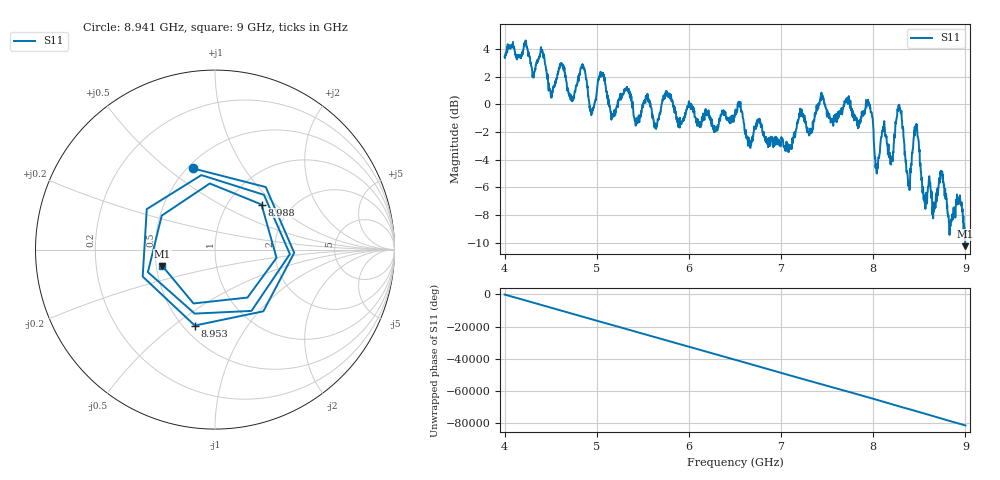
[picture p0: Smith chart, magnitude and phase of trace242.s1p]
! Created with skrf 1.8.0 (http://scikit-rf.org).
# Hz S RI R 50.0
!freq ReS11 ImS11
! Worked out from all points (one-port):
!   1601 points, 4 GHz to 9 GHz, reference 50 ohm
!   lowest |S11| = -10.3 dB at 9 GHz (marker M1), VSWR 1.89, Z = 27 - j5.47 ohm
!   |S11| at or under -10 dB: 8.998252 GHz to end of sweep
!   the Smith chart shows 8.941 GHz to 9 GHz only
!   S11 on the Smith chart (normalised r, x): 8.941 GHz: 0.53, +0.62; 8.953 GHz: 0.57, -0.60; 8.988 GHz: 1.42, +0.82; 9 GHz: 0.54, -0.11
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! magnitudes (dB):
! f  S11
! 4 GHz  3.5
! 4.409 GHz  3.9
! 4.5 GHz  0.8
! 4.625 GHz  2.9
! 4.728 GHz  0.3
! 4.853 GHz  2.8
! 4.944 GHz  -0.5
! 5.053 GHz  2.3
! 5.162 GHz  -0.6
! 5.25 GHz  0.6
! 5.875 GHz  -1.3
! 6.5 GHz  -0.6
! 7.125 GHz  -2.6
! 7.438 GHz  0.9
! 7.75 GHz  0.2
! 7.959 GHz  0.0
! 8.041 GHz  -4.3
! 8.112 GHz  -1.9
! 8.194 GHz  -4.4
! 8.288 GHz  -0.4
! 8.375 GHz  -5.3
! 8.466 GHz  -1.4
! 8.559 GHz  -7.1
! 8.738 GHz  -4.8
! 8.941 GHz  -6.6
! 8.953 GHz  -7.2
! 8.988 GHz  -8.9
! 9 GHz  -10.3
